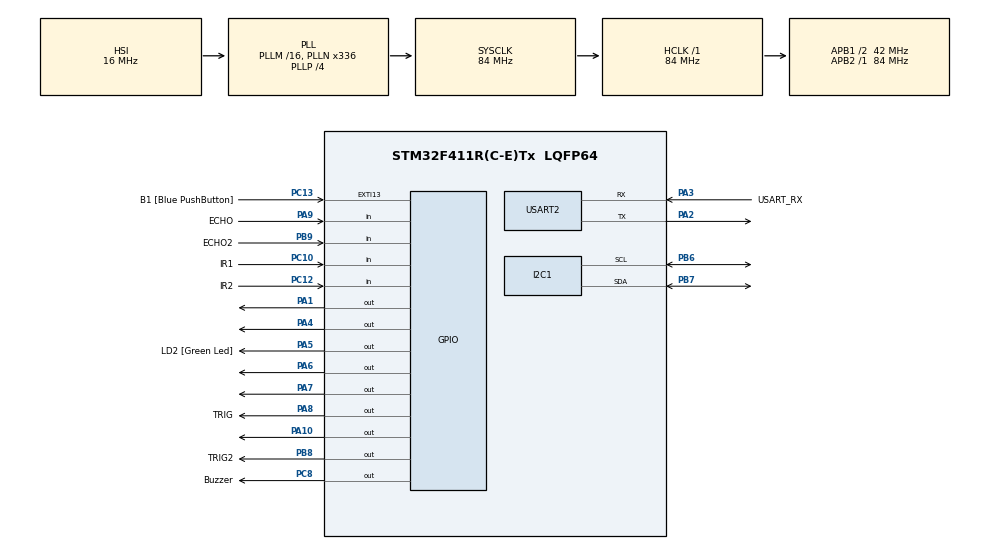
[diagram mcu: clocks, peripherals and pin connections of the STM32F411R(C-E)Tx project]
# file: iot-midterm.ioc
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Mcu.Family=STM32F4
Mcu.Name=STM32F411R(C-E)Tx
Mcu.Package=LQFP64
NVIC.PriorityGroup=NVIC_PRIORITYGROUP_0
PA1.Signal=GPIO_Output
PA10.Signal=GPIO_Output
PA13.GPIO_Label=TMS
PA13.Mode=Serial_Wire
PA13.Signal=SYS_JTMS-SWDIO
PA14.GPIO_Label=TCK
PA14.Mode=Serial_Wire
PA14.Signal=SYS_JTCK-SWCLK
PA2.Mode=Asynchronous
PA2.Signal=USART2_TX
PA3.GPIO_Label=USART_RX
PA3.Mode=Asynchronous
PA3.Signal=USART2_RX
PA4.Signal=GPIO_Output
PA5.GPIO_Label=LD2 [Green Led]
PA5.Signal=GPIO_Output
PA6.Signal=GPIO_Output
PA7.Signal=GPIO_Output
PA8.GPIO_Label=TRIG
PA8.Signal=GPIO_Output
PA9.GPIO_Label=ECHO
PA9.Signal=GPIO_Input
PB3.GPIO_Label=SWO
PB3.Signal=SYS_JTDO-SWO
PB6.Mode=I2C
PB6.Signal=I2C1_SCL
PB7.Mode=I2C
PB7.Signal=I2C1_SDA
PB8.GPIO_Label=TRIG2
PB8.Signal=GPIO_Output
PB9.GPIO_Label=ECHO2
PB9.Signal=GPIO_Input
PC10.GPIO_Label=IR1
PC10.Signal=GPIO_Input
PC12.GPIO_Label=IR2
PC12.Signal=GPIO_Input
PC13-ANTI_TAMP.GPIO_Label=B1 [Blue PushButton]
PC13-ANTI_TAMP.GPIO_ModeDefaultEXTI=GPIO_MODE_IT_FALLING
PC13-ANTI_TAMP.Signal=GPXTI13
PC14-OSC32_IN.Mode=LSE-External-Oscillator
PC14-OSC32_IN.Signal=RCC_OSC32_IN
PC15-OSC32_OUT.Mode=LSE-External-Oscillator
PC15-OSC32_OUT.Signal=RCC_OSC32_OUT
PC8.GPIO_Label=Buzzer
PC8.Signal=GPIO_Output
PH0\ -\ OSC_IN.Mode=HSE-External-Clock-Source
PH0\ -\ OSC_IN.Signal=RCC_OSC_IN
PH1\ -\ OSC_OUT.Mode=HSE-External-Clock-Source
PH1\ -\ OSC_OUT.Signal=RCC_OSC_OUT
ProjectManager.HeapSize=0x200
ProjectManager.StackSize=0x400
ProjectManager.TargetToolchain=STM32CubeIDE
RCC.48MHZClocksFreq_Value=84000000
RCC.AHBFreq_Value=84000000
RCC.APB1CLKDivider=RCC_HCLK_DIV2
RCC.APB1Freq_Value=42000000
RCC.APB1TimFreq_Value=84000000
RCC.APB2Freq_Value=84000000
RCC.APB2TimFreq_Value=84000000
RCC.CortexFreq_Value=84000000
RCC.FLatency-AdvancedSettings=FLASH_LATENCY_2
RCC.HCLKFreq_Value=84000000
RCC.HSE_VALUE=8000000
RCC.HSI_VALUE=16000000
RCC.PLLN=336
RCC.PLLP=RCC_PLLP_DIV4
RCC.SYSCLKFreq_VALUE=84000000
RCC.SYSCLKSource=RCC_SYSCLKSOURCE_PLLCLK
RCC.VCOOutputFreq_Value=336000000
TIM4.Prescaler=84-1
USART2.VirtualMode=VM_ASYNC
VP_TIM4_VS_ClockSourceINT.Mode=Internal
board=NUCLEO-F411RE

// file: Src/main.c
/* USER CODE BEGIN Header */
/**
 ******************************************************************************
 * @file           : main.c
 * @brief          : Main program body
 ******************************************************************************
 * @attention
 *
 * <h2><center>&copy; Copyright (c) 2019 STMicroelectronics.
 * All rights reserved.</center></h2>
 *
 * This software component is licensed by ST under BSD 3-Clause license,
 * the "License"; You may not use this file except in compliance with the
 * License. You may obtain a copy of the License at:
 *                        opensource.org/licenses/BSD-3-Clause
 *
 ******************************************************************************
 */
/* USER CODE END Header */

#include "main.h"

/* USER CODE BEGIN Includes */
#include <string.h>
#include <stdio.h>
/* USER CODE END Includes */

/* USER CODE BEGIN PTD */
#define usTIM TIM4
/* USER CODE END PTD */

I2C_HandleTypeDef hi2c1;

TIM_HandleTypeDef htim4;

UART_HandleTypeDef huart2;

void SystemClock_Config(void);
static void MX_GPIO_Init(void);
static void MX_I2C1_Init(void);
static void MX_USART2_UART_Init(void);
static void MX_TIM4_Init(void);
/* USER CODE BEGIN PFP */
void usDelay(uint32_t uSec);
/* USER CODE END PFP */

/* USER CODE BEGIN 0 */

// http://www.kennethkuhn.com/electronics/debounce.c
/* The following parameters tune the algorithm to fit the particular
 application.  The example numbers are for a case where a computer samples a
 mechanical contact 10 times a second and a half-second integration time is
 used to remove bounce.  Note: DEBOUNCE_TIME is in seconds and SAMPLE_FREQUENCY
 is in Hertz */

#define DEBOUNCE_TIME		0.02
#define SAMPLE_FREQUENCY	200
#define MAXIMUM			(DEBOUNCE_TIME * SAMPLE_FREQUENCY)
#define DELAY			(1000 / SAMPLE_FREQUENCY)

#define MAXIMUM_PEOPLE		5

/* These are the variables used */
unsigned int input1; /* 0 or 1 depending on the input signal */
unsigned int integrator1; /* Will range from 0 to the specified MAXIMUM */
unsigned int output1; /* Cleaned-up version of the input signal */

unsigned int input2; /* 0 or 1 depending on the input signal */
unsigned int integrator2; /* Will range from 0 to the specified MAXIMUM */
unsigned int output2; /* Cleaned-up version of the input signal */

int IR1ReadPin() {
	if (HAL_GPIO_ReadPin(IR1_GPIO_Port, IR1_Pin) == GPIO_PIN_SET) {
		return 0; // not detected
	} else {
		return 1; // detected
	}
}

int IR2ReadPin() {
	if (HAL_GPIO_ReadPin(IR2_GPIO_Port, IR2_Pin) == GPIO_PIN_SET) {
		return 0; // not detected
	} else {
		return 1; // detected
	}
}

unsigned int calcIntegrator(unsigned int input, unsigned int integrator) {
	/* Step 1: Update the integrator based on the input signal.  Note that the
	 integrator follows the input, decreasing or increasing towards the limits as
	 determined by the input state (0 or 1). */
	if (input == 0) {
		if (integrator > 0)
			integrator -= 1;
	} else if (integrator < MAXIMUM) {
		integrator += 1;
	}
	return integrator;
}

unsigned int calcOutput(unsigned int integrator, unsigned int output) {
	/* Step 2: Update the output state based on the integrator.  Note that the
	 output will only change states if the integrator has reached a limit, either
	 0 or MAXIMUM. */
	if (integrator == 0) {
		output = 0;
	} else if (integrator >= MAXIMUM) {
		output = 1;
		// integrator = MAXIMUM; /* defensive code if integrator got corrupted */
	}
	return output;
}

int calcState(int isIR1Detected, int isIR1Detected) {
	if (isIR1Detected == 1 && isIR2Detected == 0) {
		return 1;
	} else if (isIR1Detected == 1 && isIR2Detected == 1) {
		return 2;
	} else if (isIR1Detected == 0 && isIR2Detected == 1) {
		return 3;
	} else {
		return 0;
	}
}

void alertError() {
	for (int i = 0; i < 5; ++i) {
		HAL_GPIO_WritePin(Buzzer_GPIO_Port, Buzzer_Pin, GPIO_PIN_SET);
		HAL_Delay(100);
		HAL_GPIO_WritePin(Buzzer_GPIO_Port, Buzzer_Pin, GPIO_PIN_RESET);
		HAL_Delay(100);
	}
}

void alertDetection() {
	HAL_GPIO_WritePin(Buzzer_GPIO_Port, Buzzer_Pin, GPIO_PIN_SET);
	HAL_Delay(75);
	HAL_GPIO_WritePin(Buzzer_GPIO_Port, Buzzer_Pin, GPIO_PIN_RESET);
	HAL_Delay(75);
}

/* USER CODE END 0 */

int main(void) {

	/* MCU Configuration--------------------------------------------------------*/

	/* Reset of all peripherals, Initializes the Flash interface and the Systick. */
	HAL_Init();

	/* Configure the system clock */
	SystemClock_Config();

	/* Initialize all configured peripherals */
	MX_GPIO_Init();
	MX_I2C1_Init();
	MX_USART2_UART_Init();
	MX_TIM4_Init();

	/* Infinite loop */
	/* USER CODE BEGIN WHILE */
	/*
	 * State
	 * 0 -> no object detected
	 * 1 -> first sensor detect an object
	 * 2 -> both sensor detect an object
	 * 3 -> second sensor detect an object
	 */
	int state = 0;
	int firstState = 0;

	int numberOfPeople = 0;
	int tempNumberOfPeople = 0;

	char uartBuf[100];

	while (1) {

		/* USER CODE END WHILE */

		/* USER CODE BEGIN 3 */

		//1. Get distance
		input1 = IR1ReadPin();
		input2 = IR2ReadPin();

		integrator1 = calcIntegrator(input1, integrator1);
		integrator2 = calcIntegrator(input2, integrator2);

		output1 = calcOutput(integrator1, output1);
		output2 = calcOutput(integrator2, output2);

		int isIR1Detected = output1;
		int isIR2Detected = output2;

		int newState = calcState(isIR1Detected, isIR2Detected);

		if (newState != state) {
			if (state == 0) {
				firstState = newState;
			} else if (newState == 0) {
				if (state == 1 && firstState == 3) {
					if (numberOfPeople > 0) {
						numberOfPeople -= 1;
					}
					alertDetection();
				} else if (state == 2 || firstState == 2) {
					alertError();
				} else if (state == 3 && firstState == 1) {
					numberOfPeople += 1;
					if (numberOfPeople <= MAXIMUM_PEOPLE) {
						alertDetection();
					}
				}
				firstState = 0;
			}
			state = newState;
		}

		//6. Control LED
		if (numberOfPeople == 0) {
			HAL_GPIO_WritePin(GPIOA, GPIO_PIN_1, GPIO_PIN_RESET);
			HAL_GPIO_WritePin(GPIOA, GPIO_PIN_4, GPIO_PIN_RESET);
			HAL_GPIO_WritePin(GPIOA, GPIO_PIN_6, GPIO_PIN_RESET);
			HAL_GPIO_WritePin(GPIOA, GPIO_PIN_7, GPIO_PIN_RESET);
			HAL_GPIO_WritePin(GPIOA, GPIO_PIN_10, GPIO_PIN_RESET);
		} else if (numberOfPeople == 1) {
			HAL_GPIO_WritePin(GPIOA, GPIO_PIN_1, GPIO_PIN_SET);
			HAL_GPIO_WritePin(GPIOA, GPIO_PIN_4, GPIO_PIN_RESET);
			HAL_GPIO_WritePin(GPIOA, GPIO_PIN_6, GPIO_PIN_RESET);
			HAL_GPIO_WritePin(GPIOA, GPIO_PIN_7, GPIO_PIN_RESET);
			HAL_GPIO_WritePin(GPIOA, GPIO_PIN_10, GPIO_PIN_RESET);
		} else if (numberOfPeople == 2) {
			HAL_GPIO_WritePin(GPIOA, GPIO_PIN_1, GPIO_PIN_SET);
			HAL_GPIO_WritePin(GPIOA, GPIO_PIN_4, GPIO_PIN_SET);
			HAL_GPIO_WritePin(GPIOA, GPIO_PIN_6, GPIO_PIN_RESET);
			HAL_GPIO_WritePin(GPIOA, GPIO_PIN_7, GPIO_PIN_RESET);
			HAL_GPIO_WritePin(GPIOA, GPIO_PIN_10, GPIO_PIN_RESET);
		} else if (numberOfPeople == 3) {
			HAL_GPIO_WritePin(GPIOA, GPIO_PIN_1, GPIO_PIN_SET);
			HAL_GPIO_WritePin(GPIOA, GPIO_PIN_4, GPIO_PIN_SET);
			HAL_GPIO_WritePin(GPIOA, GPIO_PIN_6, GPIO_PIN_SET);
			HAL_GPIO_WritePin(GPIOA, GPIO_PIN_7, GPIO_PIN_RESET);
			HAL_GPIO_WritePin(GPIOA, GPIO_PIN_10, GPIO_PIN_RESET);
		} else if (numberOfPeople == 4) {
			HAL_GPIO_WritePin(GPIOA, GPIO_PIN_1, GPIO_PIN_SET);
			HAL_GPIO_WritePin(GPIOA, GPIO_PIN_4, GPIO_PIN_SET);
			HAL_GPIO_WritePin(GPIOA, GPIO_PIN_6, GPIO_PIN_SET);
			HAL_GPIO_WritePin(GPIOA, GPIO_PIN_7, GPIO_PIN_SET);
			HAL_GPIO_WritePin(GPIOA, GPIO_PIN_10, GPIO_PIN_RESET);
		} else if (numberOfPeople >= 5) {
			HAL_GPIO_WritePin(GPIOA, GPIO_PIN_1, GPIO_PIN_SET);
			HAL_GPIO_WritePin(GPIOA, GPIO_PIN_4, GPIO_PIN_SET);
			HAL_GPIO_WritePin(GPIOA, GPIO_PIN_6, GPIO_PIN_SET);
			HAL_GPIO_WritePin(GPIOA, GPIO_PIN_7, GPIO_PIN_SET);
			HAL_GPIO_WritePin(GPIOA, GPIO_PIN_10, GPIO_PIN_SET);
		}
		if (numberOfPeople > MAXIMUM_PEOPLE
				&& tempNumberOfPeople < numberOfPeople) {
			HAL_GPIO_WritePin(Buzzer_GPIO_Port, Buzzer_Pin, GPIO_PIN_SET);
			HAL_Delay(1000);
			HAL_GPIO_WritePin(Buzzer_GPIO_Port, Buzzer_Pin, GPIO_PIN_RESET);
		}
		tempNumberOfPeople = numberOfPeople;

		//7. Print to UART terminal for debugging
//		sprintf(uartBuf,
//				"IR1 = %d  , IR2 = %d , State = %d , new state = %d, People = %d\r\n",
//				isIR1Detected, isIR2Detected, state, newState, numberOfPeople);
		sprintf(uartBuf,
				"I1 = %d , I2 = %d , IR1 = %d  , IR2 = %d , State = %d , new state = %d, People = %d\r\n",
				integrator1, integrator2, isIR1Detected, isIR2Detected, state,
				newState, numberOfPeople);
		HAL_UART_Transmit(&huart2, (uint8_t *) uartBuf, strlen(uartBuf), 100);

		HAL_Delay(DELAY);
	}
	/* USER CODE END 3 */
}

void SystemClock_Config(void) {
	RCC_OscInitTypeDef RCC_OscInitStruct = { 0 };
	RCC_ClkInitTypeDef RCC_ClkInitStruct = { 0 };

	/** Configure the main internal regulator output voltage
	 */
	__HAL_RCC_PWR_CLK_ENABLE()
	;
	__HAL_PWR_VOLTAGESCALING_CONFIG(PWR_REGULATOR_VOLTAGE_SCALE1);
	/** Initializes the CPU, AHB and APB busses clocks
	 */
	RCC_OscInitStruct.OscillatorType = RCC_OSCILLATORTYPE_HSI;
	RCC_OscInitStruct.HSIState = RCC_HSI_ON;
	RCC_OscInitStruct.HSICalibrationValue = RCC_HSICALIBRATION_DEFAULT;
	RCC_OscInitStruct.PLL.PLLState = RCC_PLL_ON;
	RCC_OscInitStruct.PLL.PLLSource = RCC_PLLSOURCE_HSI;
	RCC_OscInitStruct.PLL.PLLM = 16;
	RCC_OscInitStruct.PLL.PLLN = 336;
	RCC_OscInitStruct.PLL.PLLP = RCC_PLLP_DIV4;
	RCC_OscInitStruct.PLL.PLLQ = 4;
	if (HAL_RCC_OscConfig(&RCC_OscInitStruct) != HAL_OK) {
		Error_Handler();
	}
	/** Initializes the CPU, AHB and APB busses clocks
	 */
	RCC_ClkInitStruct.ClockType = RCC_CLOCKTYPE_HCLK | RCC_CLOCKTYPE_SYSCLK
			| RCC_CLOCKTYPE_PCLK1 | RCC_CLOCKTYPE_PCLK2;
	RCC_ClkInitStruct.SYSCLKSource = RCC_SYSCLKSOURCE_PLLCLK;
	RCC_ClkInitStruct.AHBCLKDivider = RCC_SYSCLK_DIV1;
	RCC_ClkInitStruct.APB1CLKDivider = RCC_HCLK_DIV2;
	RCC_ClkInitStruct.APB2CLKDivider = RCC_HCLK_DIV1;

	if (HAL_RCC_ClockConfig(&RCC_ClkInitStruct, FLASH_LATENCY_2) != HAL_OK) {
		Error_Handler();
	}
}

static void MX_I2C1_Init(void) {

	hi2c1.Instance = I2C1;
	hi2c1.Init.ClockSpeed = 100000;
	hi2c1.Init.DutyCycle = I2C_DUTYCYCLE_2;
	hi2c1.Init.OwnAddress1 = 0;
	hi2c1.Init.AddressingMode = I2C_ADDRESSINGMODE_7BIT;
	hi2c1.Init.DualAddressMode = I2C_DUALADDRESS_DISABLE;
	hi2c1.Init.OwnAddress2 = 0;
	hi2c1.Init.GeneralCallMode = I2C_GENERALCALL_DISABLE;
	hi2c1.Init.NoStretchMode = I2C_NOSTRETCH_DISABLE;
	if (HAL_I2C_Init(&hi2c1) != HAL_OK) {
		Error_Handler();
	}

}

static void MX_TIM4_Init(void) {

	TIM_ClockConfigTypeDef sClockSourceConfig = { 0 };
	TIM_MasterConfigTypeDef sMasterConfig = { 0 };

	htim4.Instance = TIM4;
	htim4.Init.Prescaler = 84 - 1;
	htim4.Init.CounterMode = TIM_COUNTERMODE_UP;
	htim4.Init.Period = 0;
	htim4.Init.ClockDivision = TIM_CLOCKDIVISION_DIV1;
	htim4.Init.AutoReloadPreload = TIM_AUTORELOAD_PRELOAD_DISABLE;
	if (HAL_TIM_Base_Init(&htim4) != HAL_OK) {
		Error_Handler();
	}
	sClockSourceConfig.ClockSource = TIM_CLOCKSOURCE_INTERNAL;
	if (HAL_TIM_ConfigClockSource(&htim4, &sClockSourceConfig) != HAL_OK) {
		Error_Handler();
	}
	sMasterConfig.MasterOutputTrigger = TIM_TRGO_RESET;
	sMasterConfig.MasterSlaveMode = TIM_MASTERSLAVEMODE_DISABLE;
	if (HAL_TIMEx_MasterConfigSynchronization(&htim4, &sMasterConfig)
			!= HAL_OK) {
		Error_Handler();
	}

}

static void MX_USART2_UART_Init(void) {

	huart2.Instance = USART2;
	huart2.Init.BaudRate = 115200;
	huart2.Init.WordLength = UART_WORDLENGTH_8B;
	huart2.Init.StopBits = UART_STOPBITS_1;
	huart2.Init.Parity = UART_PARITY_NONE;
	huart2.Init.Mode = UART_MODE_TX_RX;
	huart2.Init.HwFlowCtl = UART_HWCONTROL_NONE;
	huart2.Init.OverSampling = UART_OVERSAMPLING_16;
	if (HAL_UART_Init(&huart2) != HAL_OK) {
		Error_Handler();
	}

}

static void MX_GPIO_Init(void) {
	GPIO_InitTypeDef GPIO_InitStruct = { 0 };

	/* GPIO Ports Clock Enable */
	__HAL_RCC_GPIOC_CLK_ENABLE()
	;
	__HAL_RCC_GPIOH_CLK_ENABLE()
	;
	__HAL_RCC_GPIOA_CLK_ENABLE()
	;
	__HAL_RCC_GPIOB_CLK_ENABLE()
	;

	/*Configure GPIO pin Output Level */
	HAL_GPIO_WritePin(GPIOA,
			GPIO_PIN_1 | GPIO_PIN_4 | LD2_Pin | GPIO_PIN_6 | GPIO_PIN_7
					| TRIG_Pin | GPIO_PIN_10, GPIO_PIN_RESET);

	/*Configure GPIO pin Output Level */
	HAL_GPIO_WritePin(Buzzer_GPIO_Port, Buzzer_Pin, GPIO_PIN_RESET);

	/*Configure GPIO pin Output Level */
	HAL_GPIO_WritePin(TRIG2_GPIO_Port, TRIG2_Pin, GPIO_PIN_RESET);

	/*Configure GPIO pin : B1_Pin */
	GPIO_InitStruct.Pin = B1_Pin;
	GPIO_InitStruct.Mode = GPIO_MODE_IT_FALLING;
	GPIO_InitStruct.Pull = GPIO_NOPULL;
	HAL_GPIO_Init(B1_GPIO_Port, &GPIO_InitStruct);

	/*Configure GPIO pins : PA1 PA4 LD2_Pin PA6
	 PA7 TRIG_Pin PA10 */
	GPIO_InitStruct.Pin = GPIO_PIN_1 | GPIO_PIN_4 | LD2_Pin | GPIO_PIN_6
			| GPIO_PIN_7 | TRIG_Pin | GPIO_PIN_10;
	GPIO_InitStruct.Mode = GPIO_MODE_OUTPUT_PP;
	GPIO_InitStruct.Pull = GPIO_NOPULL;
	GPIO_InitStruct.Speed = GPIO_SPEED_FREQ_LOW;
	HAL_GPIO_Init(GPIOA, &GPIO_InitStruct);

	/*Configure GPIO pin : Buzzer_Pin */
	GPIO_InitStruct.Pin = Buzzer_Pin;
	GPIO_InitStruct.Mode = GPIO_MODE_OUTPUT_PP;
	GPIO_InitStruct.Pull = GPIO_NOPULL;
	GPIO_InitStruct.Speed = GPIO_SPEED_FREQ_LOW;
	HAL_GPIO_Init(Buzzer_GPIO_Port, &GPIO_InitStruct);

	/*Configure GPIO pin : ECHO_Pin */
	GPIO_InitStruct.Pin = ECHO_Pin;
	GPIO_InitStruct.Mode = GPIO_MODE_INPUT;
	GPIO_InitStruct.Pull = GPIO_NOPULL;
	HAL_GPIO_Init(ECHO_GPIO_Port, &GPIO_InitStruct);

	/*Configure GPIO pins : IR1_Pin IR2_Pin */
	GPIO_InitStruct.Pin = IR1_Pin | IR2_Pin;
	GPIO_InitStruct.Mode = GPIO_MODE_INPUT;
	GPIO_InitStruct.Pull = GPIO_NOPULL;
	HAL_GPIO_Init(GPIOC, &GPIO_InitStruct);

	/*Configure GPIO pin : TRIG2_Pin */
	GPIO_InitStruct.Pin = TRIG2_Pin;
	GPIO_InitStruct.Mode = GPIO_MODE_OUTPUT_PP;
	GPIO_InitStruct.Pull = GPIO_NOPULL;
	GPIO_InitStruct.Speed = GPIO_SPEED_FREQ_LOW;
	HAL_GPIO_Init(TRIG2_GPIO_Port, &GPIO_InitStruct);

	/*Configure GPIO pin : ECHO2_Pin */
	GPIO_InitStruct.Pin = ECHO2_Pin;
	GPIO_InitStruct.Mode = GPIO_MODE_INPUT;
	GPIO_InitStruct.Pull = GPIO_NOPULL;
	HAL_GPIO_Init(ECHO2_GPIO_Port, &GPIO_InitStruct);

}

/* USER CODE BEGIN 4 */
void usDelay(uint32_t uSec) {
	if (uSec < 2)
		uSec = 2;
	usTIM->ARR = uSec - 1;
	usTIM->EGR = 1;
	usTIM->SR &= ~1;
	usTIM->CR1 |= 1;
	while ((usTIM->SR & 0x0001) != 1)
		;
	usTIM->SR &= ~(0x0001);

}
/* USER CODE END 4 */

void Error_Handler(void) {
}

/************************ (C) COPYRIGHT STMicroelectronics *****END OF FILE****/
